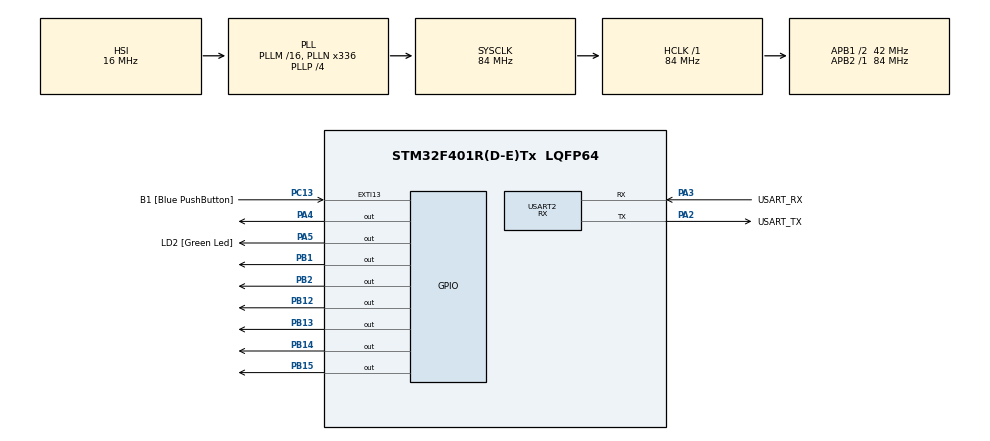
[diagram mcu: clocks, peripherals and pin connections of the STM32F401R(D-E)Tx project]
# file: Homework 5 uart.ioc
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Dma.Request0=USART2_RX
Dma.USART2_RX.0.Direction=DMA_PERIPH_TO_MEMORY
Dma.USART2_RX.0.FIFOMode=DMA_FIFOMODE_DISABLE
Dma.USART2_RX.0.Instance=DMA1_Stream5
Dma.USART2_RX.0.MemDataAlignment=DMA_MDATAALIGN_BYTE
Dma.USART2_RX.0.MemInc=DMA_MINC_ENABLE
Dma.USART2_RX.0.Mode=DMA_NORMAL
Dma.USART2_RX.0.PeriphDataAlignment=DMA_PDATAALIGN_BYTE
Dma.USART2_RX.0.PeriphInc=DMA_PINC_DISABLE
Dma.USART2_RX.0.Priority=DMA_PRIORITY_LOW
Mcu.Family=STM32F4
Mcu.Name=STM32F401R(D-E)Tx
Mcu.Package=LQFP64
NVIC.DMA1_Stream5_IRQn=true\:0\:0\:false\:false\:true\:false\:true\:true
NVIC.PriorityGroup=NVIC_PRIORITYGROUP_0
NVIC.USART2_IRQn=true\:0\:0\:false\:false\:true\:true\:true\:true
PA13.GPIO_Label=TMS
PA13.Mode=Serial_Wire
PA13.Signal=SYS_JTMS-SWDIO
PA14.GPIO_Label=TCK
PA14.Mode=Serial_Wire
PA14.Signal=SYS_JTCK-SWCLK
PA2.GPIO_Label=USART_TX
PA2.GPIO_Mode=GPIO_MODE_AF_PP
PA2.GPIO_PuPd=GPIO_NOPULL
PA2.GPIO_Speed=GPIO_SPEED_FREQ_LOW
PA2.Mode=Asynchronous
PA2.Signal=USART2_TX
PA3.GPIO_Label=USART_RX
PA3.GPIO_Mode=GPIO_MODE_AF_PP
PA3.GPIO_PuPd=GPIO_NOPULL
PA3.GPIO_Speed=GPIO_SPEED_FREQ_LOW
PA3.Mode=Asynchronous
PA3.Signal=USART2_RX
PA4.Signal=GPIO_Output
PA5.GPIO_Label=LD2 [Green Led]
PA5.GPIO_Mode=GPIO_MODE_OUTPUT_PP
PA5.GPIO_PuPd=GPIO_NOPULL
PA5.GPIO_Speed=GPIO_SPEED_FREQ_LOW
PA5.Signal=GPIO_Output
PB1.Signal=GPIO_Output
PB12.Signal=GPIO_Output
PB13.Signal=GPIO_Output
PB14.Signal=GPIO_Output
PB15.Signal=GPIO_Output
PB2.Signal=GPIO_Output
PB3.GPIO_Label=SWO
PB3.Signal=SYS_JTDO-SWO
PC13-ANTI_TAMP.GPIO_Label=B1 [Blue PushButton]
PC13-ANTI_TAMP.GPIO_ModeDefaultEXTI=GPIO_MODE_IT_FALLING
PC13-ANTI_TAMP.GPIO_PuPd=GPIO_NOPULL
PC13-ANTI_TAMP.Signal=GPXTI13
PC14-OSC32_IN.Mode=LSE-External-Oscillator
PC14-OSC32_IN.Signal=RCC_OSC32_IN
PC15-OSC32_OUT.Mode=LSE-External-Oscillator
PC15-OSC32_OUT.Signal=RCC_OSC32_OUT
PH0\ -\ OSC_IN.Mode=HSE-External-Clock-Source
PH0\ -\ OSC_IN.Signal=RCC_OSC_IN
PH1\ -\ OSC_OUT.Mode=HSE-External-Clock-Source
PH1\ -\ OSC_OUT.Signal=RCC_OSC_OUT
ProjectManager.HeapSize=0x200
ProjectManager.StackSize=0x400
ProjectManager.TargetToolchain=STM32CubeIDE
RCC.48MHZClocksFreq_Value=48000000
RCC.AHBFreq_Value=84000000
RCC.APB1CLKDivider=RCC_HCLK_DIV2
RCC.APB1Freq_Value=42000000
RCC.APB1TimFreq_Value=84000000
RCC.APB2Freq_Value=84000000
RCC.APB2TimFreq_Value=84000000
RCC.CortexFreq_Value=84000000
RCC.HCLKFreq_Value=84000000
RCC.HSE_VALUE=8000000
RCC.HSI_VALUE=16000000
RCC.PLLN=336
RCC.PLLP=RCC_PLLP_DIV4
RCC.PLLQ=7
RCC.SYSCLKFreq_VALUE=84000000
RCC.SYSCLKSource=RCC_SYSCLKSOURCE_PLLCLK
RCC.VCOOutputFreq_Value=336000000
USART2.Mode=MODE_RX
USART2.VirtualMode=VM_ASYNC
board=NUCLEO-F401RE

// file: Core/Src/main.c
/* USER CODE BEGIN Header */
/**
 ******************************************************************************
 * @file           : main.c
 * @brief          : Main program body
 ******************************************************************************
 * @attention
 *
 * Copyright (c) 2024 STMicroelectronics.
 * All rights reserved.
 *
 * This software is licensed under terms that can be found in the LICENSE file
 * in the root directory of this software component.
 * If no LICENSE file comes with this software, it is provided AS-IS.
 *
 ******************************************************************************
 */
/* USER CODE END Header */
#include "main.h"

/* USER CODE BEGIN Includes */
#include <string.h>
#include "PMDB16_LCD.h"

/* USER CODE END Includes */

UART_HandleTypeDef huart2;
DMA_HandleTypeDef hdma_usart2_rx;

void SystemClock_Config(void);
static void MX_GPIO_Init(void);
static void MX_DMA_Init(void);
static void MX_USART2_UART_Init(void);

/* USER CODE BEGIN 0 */
char buff = '\0';
char buff_str[33] = {" "};
char buff_h[17] = {" "};
char buff_l[17] = {" "};
int buff_index = 0;

void print_string(){
	strncpy(buff_h, buff_str, 16);
	strncpy(buff_l, buff_str + 16, 16);
	lcd_clear();
	lcd_println(buff_h, 0);
	lcd_println(buff_l, 1);
	for(int i=0;i<strlen(buff_str);i++) buff_str[i] = ' ';
	buff_index = 0;
}

void HAL_UART_RxCpltCallback(UART_HandleTypeDef *huart){
	HAL_UART_Receive_DMA(&huart2,&buff,sizeof(buff));
	if(buff == '\r' || buff == '\n'){
		print_string();
	}else{
		buff_str[buff_index++] = buff;
		if(buff_index >=32) print_string();
	}
}

/* USER CODE END 0 */

int main(void)
{

	/* MCU Configuration--------------------------------------------------------*/

	/* Reset of all peripherals, Initializes the Flash interface and the Systick. */
	HAL_Init();

	/* Configure the system clock */
	SystemClock_Config();

	/* Initialize all configured peripherals */
	MX_GPIO_Init();
	MX_DMA_Init();
	MX_USART2_UART_Init();
	/* USER CODE BEGIN 2 */
	lcd_initialize();
	lcd_backlight_ON();
	HAL_UART_Receive_DMA(&huart2,&buff,sizeof(buff));

	/* USER CODE END 2 */

	/* Infinite loop */
	while (1)
	{

	}
}

void SystemClock_Config(void)
{
	RCC_OscInitTypeDef RCC_OscInitStruct = {0};
	RCC_ClkInitTypeDef RCC_ClkInitStruct = {0};

	/** Configure the main internal regulator output voltage
	 */
	__HAL_RCC_PWR_CLK_ENABLE();
	__HAL_PWR_VOLTAGESCALING_CONFIG(PWR_REGULATOR_VOLTAGE_SCALE2);

	/** Initializes the RCC Oscillators according to the specified parameters
	 * in the RCC_OscInitTypeDef structure.
	 */
	RCC_OscInitStruct.OscillatorType = RCC_OSCILLATORTYPE_HSI;
	RCC_OscInitStruct.HSIState = RCC_HSI_ON;
	RCC_OscInitStruct.HSICalibrationValue = RCC_HSICALIBRATION_DEFAULT;
	RCC_OscInitStruct.PLL.PLLState = RCC_PLL_ON;
	RCC_OscInitStruct.PLL.PLLSource = RCC_PLLSOURCE_HSI;
	RCC_OscInitStruct.PLL.PLLM = 16;
	RCC_OscInitStruct.PLL.PLLN = 336;
	RCC_OscInitStruct.PLL.PLLP = RCC_PLLP_DIV4;
	RCC_OscInitStruct.PLL.PLLQ = 7;
	if (HAL_RCC_OscConfig(&RCC_OscInitStruct) != HAL_OK)
	{
		Error_Handler();
	}

	/** Initializes the CPU, AHB and APB buses clocks
	 */
	RCC_ClkInitStruct.ClockType = RCC_CLOCKTYPE_HCLK|RCC_CLOCKTYPE_SYSCLK
			|RCC_CLOCKTYPE_PCLK1|RCC_CLOCKTYPE_PCLK2;
	RCC_ClkInitStruct.SYSCLKSource = RCC_SYSCLKSOURCE_PLLCLK;
	RCC_ClkInitStruct.AHBCLKDivider = RCC_SYSCLK_DIV1;
	RCC_ClkInitStruct.APB1CLKDivider = RCC_HCLK_DIV2;
	RCC_ClkInitStruct.APB2CLKDivider = RCC_HCLK_DIV1;

	if (HAL_RCC_ClockConfig(&RCC_ClkInitStruct, FLASH_LATENCY_2) != HAL_OK)
	{
		Error_Handler();
	}
}

static void MX_USART2_UART_Init(void)
{

	huart2.Instance = USART2;
	huart2.Init.BaudRate = 115200;
	huart2.Init.WordLength = UART_WORDLENGTH_8B;
	huart2.Init.StopBits = UART_STOPBITS_1;
	huart2.Init.Parity = UART_PARITY_NONE;
	huart2.Init.Mode = UART_MODE_RX;
	huart2.Init.HwFlowCtl = UART_HWCONTROL_NONE;
	huart2.Init.OverSampling = UART_OVERSAMPLING_16;
	if (HAL_UART_Init(&huart2) != HAL_OK)
	{
		Error_Handler();
	}

}

static void MX_DMA_Init(void)
{

	/* DMA controller clock enable */
	__HAL_RCC_DMA1_CLK_ENABLE();

	/* DMA interrupt init */
	/* DMA1_Stream5_IRQn interrupt configuration */
	HAL_NVIC_SetPriority(DMA1_Stream5_IRQn, 0, 0);
	HAL_NVIC_EnableIRQ(DMA1_Stream5_IRQn);

}

static void MX_GPIO_Init(void)
{
	GPIO_InitTypeDef GPIO_InitStruct = {0};

	/* GPIO Ports Clock Enable */
	__HAL_RCC_GPIOC_CLK_ENABLE();
	__HAL_RCC_GPIOH_CLK_ENABLE();
	__HAL_RCC_GPIOA_CLK_ENABLE();
	__HAL_RCC_GPIOB_CLK_ENABLE();

	/*Configure GPIO pin Output Level */
	HAL_GPIO_WritePin(GPIOA, GPIO_PIN_4|LD2_Pin, GPIO_PIN_RESET);

	/*Configure GPIO pin Output Level */
	HAL_GPIO_WritePin(GPIOB, GPIO_PIN_1|GPIO_PIN_2|GPIO_PIN_12|GPIO_PIN_13
			|GPIO_PIN_14|GPIO_PIN_15, GPIO_PIN_RESET);

	/*Configure GPIO pin : B1_Pin */
	GPIO_InitStruct.Pin = B1_Pin;
	GPIO_InitStruct.Mode = GPIO_MODE_IT_FALLING;
	GPIO_InitStruct.Pull = GPIO_NOPULL;
	HAL_GPIO_Init(B1_GPIO_Port, &GPIO_InitStruct);

	/*Configure GPIO pins : PA4 LD2_Pin */
	GPIO_InitStruct.Pin = GPIO_PIN_4|LD2_Pin;
	GPIO_InitStruct.Mode = GPIO_MODE_OUTPUT_PP;
	GPIO_InitStruct.Pull = GPIO_NOPULL;
	GPIO_InitStruct.Speed = GPIO_SPEED_FREQ_LOW;
	HAL_GPIO_Init(GPIOA, &GPIO_InitStruct);

	/*Configure GPIO pins : PB1 PB2 PB12 PB13
                           PB14 PB15 */
	GPIO_InitStruct.Pin = GPIO_PIN_1|GPIO_PIN_2|GPIO_PIN_12|GPIO_PIN_13
			|GPIO_PIN_14|GPIO_PIN_15;
	GPIO_InitStruct.Mode = GPIO_MODE_OUTPUT_PP;
	GPIO_InitStruct.Pull = GPIO_NOPULL;
	GPIO_InitStruct.Speed = GPIO_SPEED_FREQ_LOW;
	HAL_GPIO_Init(GPIOB, &GPIO_InitStruct);

}

void Error_Handler(void)
{
	__disable_irq();
	while (1)
	{
	}
}
